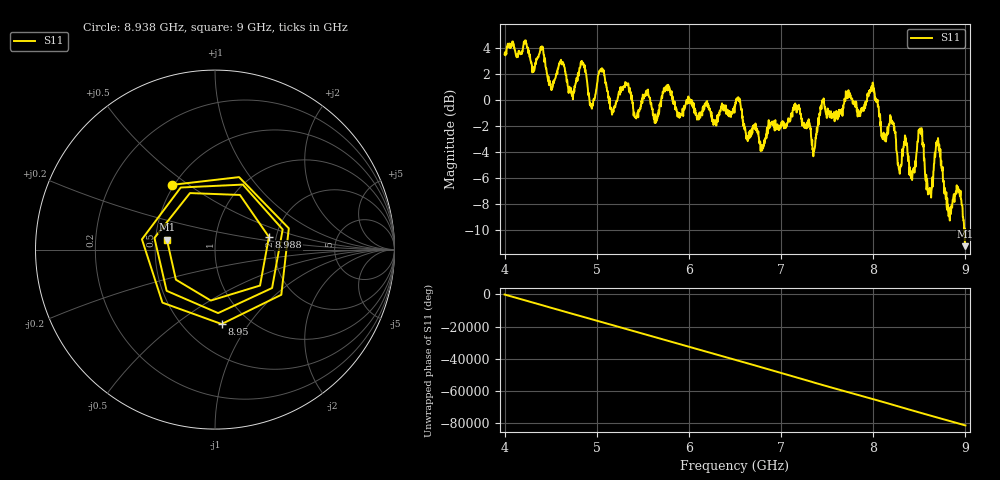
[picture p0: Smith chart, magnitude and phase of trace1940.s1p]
! Created with skrf 1.8.0 (http://scikit-rf.org).
# Hz S RI R 50.0
!freq ReS11 ImS11
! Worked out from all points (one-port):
!   1601 points, 4 GHz to 9 GHz, reference 50 ohm
!   lowest |S11| = -11.3 dB at 9 GHz (marker M1), VSWR 1.75, Z = 28.7 + j3.42 ohm
!   |S11| at or under -10 dB: 8.986786 GHz to 8.98987 GHz (3.083 MHz wide, 0.0343 % of centre); 8.991375 GHz to end of sweep
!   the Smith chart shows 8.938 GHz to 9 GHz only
!   S11 on the Smith chart (normalised r, x): 8.938 GHz: 0.49, +0.43; 8.95 GHz: 0.75, -0.75; 8.988 GHz: 1.83, +0.28; 9 GHz: 0.57, +0.07
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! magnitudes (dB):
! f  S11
! 4 GHz  3.5
! 4.506 GHz  0.8
! 4.625 GHz  2.9
! 4.731 GHz  0.3
! 4.85 GHz  2.7
! 4.944 GHz  -0.6
! 5.05 GHz  2.2
! 5.162 GHz  -0.9
! 5.25 GHz  0.6
! 5.875 GHz  -1.3
! 6.5 GHz  -0.4
! 6.788 GHz  -3.6
! 7.125 GHz  -0.8
! 7.353 GHz  -3.9
! 7.45 GHz  0.0
! 7.75 GHz  0.4
! 7.991 GHz  0.9
! 8.112 GHz  -2.5
! 8.375 GHz  -4.2
! 8.434 GHz  -5.3
! 8.512 GHz  -2.4
! 8.603 GHz  -7.1
! 8.703 GHz  -2.9
! 8.822 GHz  -8.9
! 8.938 GHz  -7.3
! 8.95 GHz  -7.6
! 8.988 GHz  -10.2
! 9 GHz  -11.3
